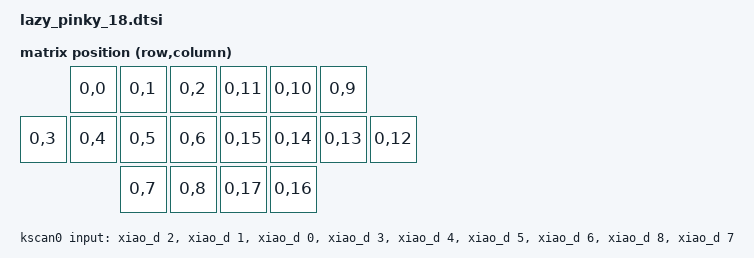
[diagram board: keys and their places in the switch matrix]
/*
 * Copyright (c) 2020 The ZMK Contributors
 *
 * SPDX-License-Identifier: MIT
 */

#include <dt-bindings/zmk/matrix_transform.h>

/ {

	chosen {
        /* zmk,backlight = &backlight; */
		zmk,kscan = &kscan0;
		zmk,matrix_transform = &default_transform;
        zmk,backlight = &backlight;
	};

	default_transform: keymap_transform_0 {
		compatible = "zmk,matrix-transform";
		columns = <18>;
		rows = <1>;
		map = <
                RC(0,0) RC(0,1) RC(0,2)  		RC(0,11)  RC(0,10)  RC(0,9)
        RC(0,3) RC(0,4) RC(0,5) RC(0,6)     RC(0,15)  RC(0,14)  RC(0,13)  RC(0,12)
                        RC(0,7) RC(0,8)     RC(0,17)  RC(0,16)
		>;
	};

    kscan0: kscan {
        compatible = "zmk,kscan-gpio-direct";
        label = "KSCAN";
        input-gpios
        = <&xiao_d 2   (GPIO_ACTIVE_LOW | GPIO_PULL_UP)>
        , <&xiao_d 1   (GPIO_ACTIVE_LOW | GPIO_PULL_UP)>
        , <&xiao_d 0   (GPIO_ACTIVE_LOW | GPIO_PULL_UP)>
        , <&xiao_d 3   (GPIO_ACTIVE_LOW | GPIO_PULL_UP)>
        , <&xiao_d 4   (GPIO_ACTIVE_LOW | GPIO_PULL_UP)>
        , <&xiao_d 5   (GPIO_ACTIVE_LOW | GPIO_PULL_UP)>
        , <&xiao_d 6   (GPIO_ACTIVE_LOW | GPIO_PULL_UP)>
        , <&xiao_d 8   (GPIO_ACTIVE_LOW | GPIO_PULL_UP)>
        , <&xiao_d 7   (GPIO_ACTIVE_LOW | GPIO_PULL_UP)>
        ;
    };

    backlight: gpioleds {
    compatible = "gpio-leds";
    label = "Backlight LEDs";
    gpio_led_0 {
        gpios = <&gpio0 26 GPIO_ACTIVE_LOW>;
        label = "Backlight LED 0";
    };
};

};
